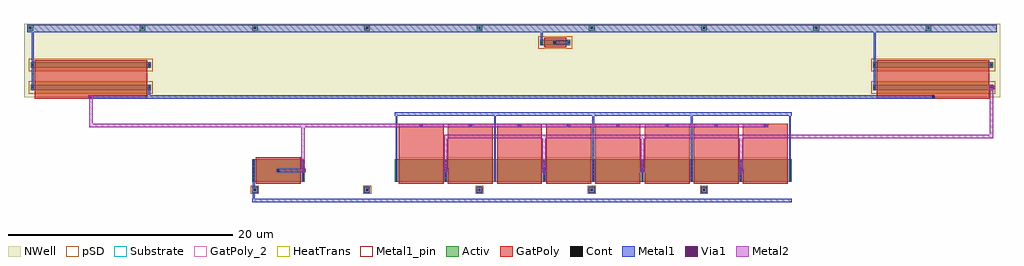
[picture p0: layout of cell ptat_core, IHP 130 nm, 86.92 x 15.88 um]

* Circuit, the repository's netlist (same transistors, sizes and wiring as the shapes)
* PTAT core — LVS schematic (expanded for ng>1)
* From soilz_lvs_expanded.spice
* 7 devices: MN1(ng=1), MN2(ng=8), PM3/4/5/ref(ng=1), PM_pdiode(ng=1)

.subckt ptat_core net_c1 net_c2 net_rptat vptat nmos_bias pmos_bias gnd vdd
* MN1: diode (D=G=net_c1), S=gnd
MMN1 net_c1 net_c1 gnd gnd sg13_lv_nmos w=2u l=4u ng=1 m=1
* MN2: ng=8 expanded, W=16/8=2u each, D=net_c2, G=net_c1, S=net_rptat
MMN2_0 net_c2 net_c1 net_rptat gnd sg13_lv_nmos w=2u l=4u ng=1 m=1
MMN2_1 net_rptat net_c1 net_c2 gnd sg13_lv_nmos w=2u l=4u ng=1 m=1
MMN2_2 net_c2 net_c1 net_rptat gnd sg13_lv_nmos w=2u l=4u ng=1 m=1
MMN2_3 net_rptat net_c1 net_c2 gnd sg13_lv_nmos w=2u l=4u ng=1 m=1
MMN2_4 net_c2 net_c1 net_rptat gnd sg13_lv_nmos w=2u l=4u ng=1 m=1
MMN2_5 net_rptat net_c1 net_c2 gnd sg13_lv_nmos w=2u l=4u ng=1 m=1
MMN2_6 net_c2 net_c1 net_rptat gnd sg13_lv_nmos w=2u l=4u ng=1 m=1
MMN2_7 net_rptat net_c1 net_c2 gnd sg13_lv_nmos w=2u l=4u ng=1 m=1
* PM3: diode (D=G=net_c1), S=vdd
MPM3 net_c1 net_c1 vdd vdd sg13_lv_pmos w=0.5u l=10u ng=1 m=1
* PM4: D=net_c2, G=net_c1, S=vdd
MPM4 net_c2 net_c1 vdd vdd sg13_lv_pmos w=0.5u l=10u ng=1 m=1
* PM5: D=vptat, G=net_c1, S=vdd
MPM5 vptat net_c1 vdd vdd sg13_lv_pmos w=0.5u l=10u ng=1 m=1
* PM_ref: D=nmos_bias, G=net_c1, S=vdd
MPM_ref nmos_bias net_c1 vdd vdd sg13_lv_pmos w=0.5u l=10u ng=1 m=1
* PM_pdiode: diode (D=G=pmos_bias), S=vdd
MPM_pdiode pmos_bias pmos_bias vdd vdd sg13_lv_pmos w=0.5u l=2u ng=1 m=1
.ends ptat_core

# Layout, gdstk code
import gdstk
lib = gdstk.Library(unit=1e-6, precision=1e-09)
def R(c, l, rs):  # rectangles x0, y0, x1, y1
    for r in rs: c.add(gdstk.rectangle(r[:2], r[2:], *l))
def A(c, l, x, y, w, h, nx, ny, dx, dy):  # array of equal rectangles
    R(c, l, [(x+i*dx, y+j*dy, x+i*dx+w, y+j*dy+h) for i in range(nx) for j in range(ny)])
Activ = (1, 0)
GatPoly = (5, 0)
GatPoly_2 = (5, 2)
Cont = (6, 0)
Metal1 = (8, 0)
Metal1_pin = (8, 2)
Metal2 = (10, 0)
pSD = (14, 0)
Via1 = (19, 0)
NWell = (31, 0)
Substrate = (40, 0)
HeatTrans = (51, 0)

pmos = lib.new_cell('pmos')
R(pmos, Activ, [(0,0,0.3,0.3), (0,0,2.68,0.5), (2.38,0,2.68,0.3)])
R(pmos, GatPoly, [(0.34,-0.18,2.34,0.68), (0.34,-0.18,2.34,0.68)])
R(pmos, Cont, [(0.07,0.17,0.23,0.33), (2.45,0.17,2.61,0.33)])
R(pmos, Metal1, [(0.07,0,0.23,0.5), (0.07,0,0.23,0.5), (2.45,0,2.61,0.5), (2.45,0,2.61,0.5)])
R(pmos, pSD, [(-0.18,-0.3,2.86,0.8)])
R(pmos, NWell, [(-0.31,-0.31,2.99,0.81)])
R(pmos, Substrate, [(2.38,0,2.68,0.3)])
R(pmos, HeatTrans, [(0.34,-0.18,2.34,0.68)])
pmos.add(gdstk.Label('pmos', (1.34,0.25), layer=63, texttype=0))
pmos.add(gdstk.Label('pmos', (1.34,0.25), layer=51, texttype=0))

nmos = lib.new_cell('nmos')
R(nmos, Activ, [(0,0,0.3,0.3), (0,0,4.68,2), (4.38,0,4.68,0.3)])
R(nmos, GatPoly, [(0.34,-0.18,4.34,2.18)])
R(nmos, GatPoly_2, [(0.34,-0.18,4.34,2.18)])
A(nmos, Cont, 0.07, 0.07, 0.16, 0.16, 1, 6, 0, 0.34)
A(nmos, Cont, 4.45, 0.07, 0.16, 0.16, 1, 6, 0, 0.34)
R(nmos, Metal1, [(0.07,0,0.23,2), (4.45,0,4.61,2)])
R(nmos, Metal1_pin, [(0.07,0,0.23,2), (4.45,0,4.61,2)])
R(nmos, HeatTrans, [(0.34,-0.18,4.34,2.18)])
nmos.add(gdstk.Label('nmos', (2.34,1), layer=63, texttype=0))
nmos.add(gdstk.Label('nmos', (2.34,1), layer=51, texttype=0))

nmos_1 = lib.new_cell('nmos$1')
A(nmos_1, Activ, 0, 0, 0.3, 0.3, 9, 1, 4.38, 0)
R(nmos_1, Activ, [(0,0,35.34,2)])
A(nmos_1, GatPoly, 0.34, -0.18, 4, 2.36, 8, 1, 4.38, 0)
R(nmos_1, GatPoly_2, [(0.34,-0.18,4.34,2.18)])
A(nmos_1, Cont, 0.07, 0.07, 0.16, 0.16, 9, 6, 4.38, 0.34)
A(nmos_1, Metal1, 0.07, 0, 0.16, 2, 9, 1, 4.38, 0)
R(nmos_1, Metal1_pin, [(0.07,0,0.23,2), (4.45,0,4.61,2)])
A(nmos_1, HeatTrans, 0.34, -0.18, 4, 2.36, 8, 1, 4.38, 0)
nmos_1.add(gdstk.Label('nmos', (2.34,1), layer=63, texttype=0))
nmos_1.add(gdstk.Label('nmos', (2.34,1), layer=51, texttype=0))
nmos_1.add(gdstk.Label('nmos', (6.72,1), layer=51, texttype=0))
nmos_1.add(gdstk.Label('nmos', (11.1,1), layer=51, texttype=0))
nmos_1.add(gdstk.Label('nmos', (15.48,1), layer=51, texttype=0))
nmos_1.add(gdstk.Label('nmos', (19.86,1), layer=51, texttype=0))
nmos_1.add(gdstk.Label('nmos', (24.24,1), layer=51, texttype=0))
nmos_1.add(gdstk.Label('nmos', (28.62,1), layer=51, texttype=0))
nmos_1.add(gdstk.Label('nmos', (33,1), layer=51, texttype=0))

pmos_1 = lib.new_cell('pmos$1')
R(pmos_1, Activ, [(0,0,0.3,0.3), (0,0,10.68,0.5), (10.38,0,10.68,0.3)])
R(pmos_1, GatPoly, [(0.34,-0.18,10.34,0.68), (0.34,-0.18,10.34,0.68)])
R(pmos_1, Cont, [(0.07,0.17,0.23,0.33), (10.45,0.17,10.61,0.33)])
R(pmos_1, Metal1, [(0.07,0,0.23,0.5), (0.07,0,0.23,0.5), (10.45,0,10.61,0.5), (10.45,0,10.61,0.5)])
R(pmos_1, pSD, [(-0.18,-0.3,10.86,0.8)])
R(pmos_1, NWell, [(-0.31,-0.31,10.99,0.81)])
R(pmos_1, Substrate, [(10.38,0,10.68,0.3)])
R(pmos_1, HeatTrans, [(0.34,-0.18,10.34,0.68)])
pmos_1.add(gdstk.Label('pmos', (5.34,0.25), layer=63, texttype=0))
pmos_1.add(gdstk.Label('pmos', (5.34,0.25), layer=51, texttype=0))

ptat_core = lib.new_cell('ptat_core')
A(ptat_core, Activ, 20, 6.2, 0.5, 0.5, 5, 1, 10, 0)
A(ptat_core, Activ, 0, 20.62, 0.5, 0.5, 9, 1, 10, 0)
A(ptat_core, GatPoly, 33.06, 9.36, 4, 2.97, 8, 1, 4.38, 0)
R(ptat_core, GatPoly, [(0.65,14.55,10.65,15.13), (0.65,14.55,10.65,17.13), (75.65,14.55,85.65,15.13), (75.65,14.55,85.65,17.13)])
A(ptat_core, Cont, 20.17, 6.37, 0.16, 0.16, 5, 1, 10, 0)
A(ptat_core, Cont, 34.98, 12.1, 0.16, 0.16, 8, 1, 4.38, 0)
A(ptat_core, Cont, 0.17, 20.79, 0.16, 0.16, 9, 1, 10, 0)
R(ptat_core, Cont, [(22.26,8.1,22.42,8.26), (5.57,14.62,5.73,14.78), (5.57,14.62,5.73,14.78), (80.57,14.62,80.73,14.78), (80.57,14.62,80.73,14.78), (46.92,19.48,47.08,19.64)])
A(ptat_core, Metal1, 20, 6.2, 0.5, 0.5, 5, 1, 10, 0)
A(ptat_core, Metal1, 37.095, 8.025, 0.31, 0.31, 4, 1, 8.76, 0)
A(ptat_core, Metal1, 32.79, 9.18, 0.16, 4.155, 5, 1, 8.76, 0)
A(ptat_core, Metal1, 34.905, 12.025, 0.31, 0.31, 8, 1, 4.38, 0)
A(ptat_core, Metal1, 0, 20.62, 0.5, 0.5, 9, 1, 10, 0)
R(ptat_core, Metal1, [(20,5.345,68.06,5.655), (20.07,5.655,20.23,7.18), (22.185,8.025,24.685,8.335), (24.375,8.025,24.685,8.335), (32.715,13.025,68.065,13.335), (5.495,14.545,5.805,14.855), (5.495,14.545,5.805,14.855), (5.495,14.545,5.805,14.855), (5.495,14.545,10.995,14.855), (5.495,14.545,80.805,14.855), (80.495,14.545,80.805,14.855), (80.495,14.545,80.805,14.855), (10.76,14.855,10.92,15.56), (85.685,15.405,85.995,15.715), (0.38,15.81,0.54,20.465), (75.38,15.81,75.54,20.465), (0.38,17.81,0.54,20.465), (75.38,17.81,75.54,20.465), (46.845,19.405,48.345,19.715), (45.73,19.81,45.89,20.465), (0,20.465,86.3,21.12)])
A(ptat_core, Metal2, 37.005, 8.025, 0.49, 0.31, 4, 1, 8.76, 0)
A(ptat_core, Metal2, 37.1, 8.025, 0.3, 3.31, 4, 1, 8.76, 0)
A(ptat_core, Metal2, 34.815, 12.025, 0.49, 0.31, 8, 1, 4.38, 0)
R(ptat_core, Metal2, [(24.285,8.025,24.775,8.335), (24.38,8.025,24.68,12.335), (37.1,11.025,63.68,11.335), (63.38,11.025,85.99,11.335), (85.69,11.025,85.99,15.715), (5.5,12.025,5.8,14.855), (5.5,12.025,65.87,12.335), (5.405,14.545,5.895,14.855), (85.595,15.405,86.085,15.715)])
A(ptat_core, pSD, 19.9, 6.1, 0.7, 0.7, 5, 1, 10, 0)
A(ptat_core, Via1, 37.155, 8.085, 0.19, 0.19, 4, 1, 8.76, 0)
A(ptat_core, Via1, 34.965, 12.085, 0.19, 0.19, 8, 1, 4.38, 0)
R(ptat_core, Via1, [(24.435,8.085,24.625,8.275), (5.555,14.605,5.745,14.795), (85.745,15.465,85.935,15.655)])
R(ptat_core, NWell, [(-0.31,14.69,86.61,21.22)])
ptat_core.add(gdstk.Reference(pmos, (45.66,19.31)))
ptat_core.add(gdstk.Reference(nmos, (20,7.18)))
ptat_core.add(gdstk.Reference(nmos_1, (32.72,7.18)))
ptat_core.add(gdstk.Reference(pmos_1, (0.31,15.31)))
ptat_core.add(gdstk.Reference(pmos_1, (75.31,15.31)))
ptat_core.add(gdstk.Reference(pmos_1, (0.31,17.31)))
ptat_core.add(gdstk.Reference(pmos_1, (75.31,17.31)))

lib.write_gds('ptat_core.gds')
